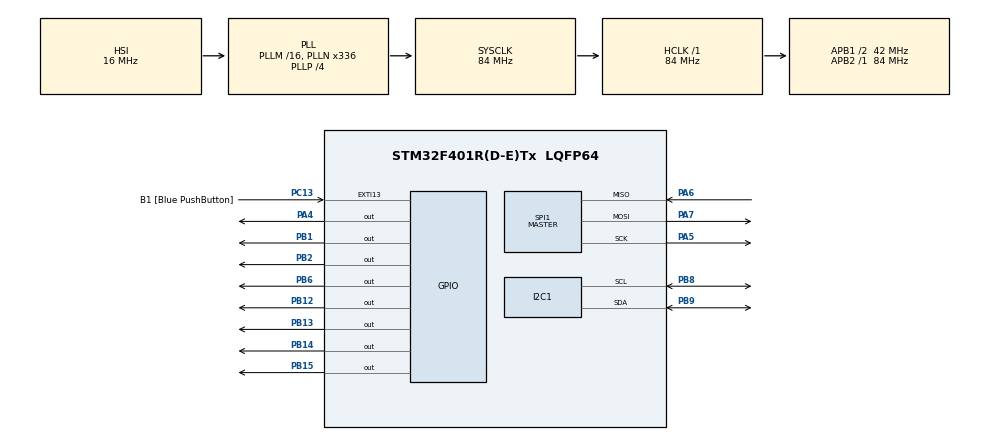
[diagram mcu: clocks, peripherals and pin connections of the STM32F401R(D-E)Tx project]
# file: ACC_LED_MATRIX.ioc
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Dma.I2C1_RX.0.Direction=DMA_PERIPH_TO_MEMORY
Dma.I2C1_RX.0.FIFOMode=DMA_FIFOMODE_DISABLE
Dma.I2C1_RX.0.Instance=DMA1_Stream0
Dma.I2C1_RX.0.MemDataAlignment=DMA_MDATAALIGN_BYTE
Dma.I2C1_RX.0.MemInc=DMA_MINC_ENABLE
Dma.I2C1_RX.0.Mode=DMA_NORMAL
Dma.I2C1_RX.0.PeriphDataAlignment=DMA_PDATAALIGN_BYTE
Dma.I2C1_RX.0.PeriphInc=DMA_PINC_DISABLE
Dma.I2C1_RX.0.Priority=DMA_PRIORITY_HIGH
Dma.Request0=I2C1_RX
Dma.Request1=SPI1_TX
Dma.SPI1_TX.1.Direction=DMA_MEMORY_TO_PERIPH
Dma.SPI1_TX.1.FIFOMode=DMA_FIFOMODE_DISABLE
Dma.SPI1_TX.1.Instance=DMA2_Stream3
Dma.SPI1_TX.1.MemDataAlignment=DMA_MDATAALIGN_BYTE
Dma.SPI1_TX.1.MemInc=DMA_MINC_ENABLE
Dma.SPI1_TX.1.Mode=DMA_NORMAL
Dma.SPI1_TX.1.PeriphDataAlignment=DMA_PDATAALIGN_BYTE
Dma.SPI1_TX.1.PeriphInc=DMA_PINC_DISABLE
Dma.SPI1_TX.1.Priority=DMA_PRIORITY_LOW
Mcu.Family=STM32F4
Mcu.Name=STM32F401R(D-E)Tx
Mcu.Package=LQFP64
NVIC.DMA1_Stream0_IRQn=true\:0\:0\:false\:false\:true\:false\:true\:true
NVIC.DMA2_Stream3_IRQn=true\:0\:0\:false\:false\:true\:false\:true\:true
NVIC.I2C1_ER_IRQn=true\:0\:0\:false\:false\:true\:true\:true\:true
NVIC.I2C1_EV_IRQn=true\:0\:0\:false\:false\:true\:true\:true\:true
NVIC.PriorityGroup=NVIC_PRIORITYGROUP_4
NVIC.SPI1_IRQn=true\:1\:0\:true\:false\:true\:true\:true\:true
NVIC.TIM2_IRQn=true\:0\:0\:false\:false\:true\:true\:true\:true
NVIC.TIM3_IRQn=true\:2\:0\:true\:false\:true\:true\:true\:true
PA13.GPIO_Label=TMS
PA13.Mode=Trace_Asynchronous_SW
PA13.Signal=SYS_JTMS-SWDIO
PA14.GPIO_Label=TCK
PA14.Mode=Trace_Asynchronous_SW
PA14.Signal=SYS_JTCK-SWCLK
PA4.Signal=GPIO_Output
PA5.Mode=Full_Duplex_Master
PA5.Signal=SPI1_SCK
PA6.Mode=Full_Duplex_Master
PA6.Signal=SPI1_MISO
PA7.Mode=Full_Duplex_Master
PA7.Signal=SPI1_MOSI
PB1.Signal=GPIO_Output
PB12.Signal=GPIO_Output
PB13.Signal=GPIO_Output
PB14.Signal=GPIO_Output
PB15.Signal=GPIO_Output
PB2.Signal=GPIO_Output
PB3.GPIO_Label=SWO
PB3.Mode=Trace_Asynchronous_SW
PB3.Signal=SYS_JTDO-SWO
PB6.Signal=GPIO_Output
PB8.Mode=I2C
PB8.Signal=I2C1_SCL
PB9.Mode=I2C
PB9.Signal=I2C1_SDA
PC13-ANTI_TAMP.GPIO_Label=B1 [Blue PushButton]
PC13-ANTI_TAMP.GPIO_ModeDefaultEXTI=GPIO_MODE_IT_FALLING
PC13-ANTI_TAMP.GPIO_PuPd=GPIO_NOPULL
PC13-ANTI_TAMP.Signal=GPXTI13
PC14-OSC32_IN.Mode=LSE-External-Oscillator
PC14-OSC32_IN.Signal=RCC_OSC32_IN
PC15-OSC32_OUT.Mode=LSE-External-Oscillator
PC15-OSC32_OUT.Signal=RCC_OSC32_OUT
PH0\ -\ OSC_IN.Mode=HSE-External-Clock-Source
PH0\ -\ OSC_IN.Signal=RCC_OSC_IN
PH1\ -\ OSC_OUT.Mode=HSE-External-Clock-Source
PH1\ -\ OSC_OUT.Signal=RCC_OSC_OUT
ProjectManager.HeapSize=0x200
ProjectManager.StackSize=0x400
ProjectManager.TargetToolchain=STM32CubeIDE
RCC.48MHZClocksFreq_Value=48000000
RCC.AHBFreq_Value=84000000
RCC.APB1CLKDivider=RCC_HCLK_DIV2
RCC.APB1Freq_Value=42000000
RCC.APB1TimFreq_Value=84000000
RCC.APB2Freq_Value=84000000
RCC.APB2TimFreq_Value=84000000
RCC.CortexFreq_Value=84000000
RCC.HCLKFreq_Value=84000000
RCC.HSE_VALUE=8000000
RCC.HSI_VALUE=16000000
RCC.PLLN=336
RCC.PLLP=RCC_PLLP_DIV4
RCC.PLLQ=7
RCC.SYSCLKFreq_VALUE=84000000
RCC.SYSCLKSource=RCC_SYSCLKSOURCE_PLLCLK
RCC.VCOOutputFreq_Value=336000000
SPI1.BaudRatePrescaler=SPI_BAUDRATEPRESCALER_4
SPI1.Direction=SPI_DIRECTION_2LINES
SPI1.Mode=SPI_MODE_MASTER
SPI1.VirtualType=VM_MASTER
TIM2.Period=839999
TIM2.Prescaler=99
TIM3.Period=3359
TIM3.Prescaler=99
VP_TIM2_VS_ClockSourceINT.Mode=Internal
VP_TIM3_VS_ClockSourceINT.Mode=Internal
board=NUCLEO-F401RE

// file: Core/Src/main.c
/* USER CODE BEGIN Header */
/**
  ******************************************************************************
  * @file           : main.c
  * @brief          : Main program body
  ******************************************************************************
  * @attention
  *
  * Copyright (c) 2026 STMicroelectronics.
  * All rights reserved.
  *
  * This software is licensed under terms that can be found in the LICENSE file
  * in the root directory of this software component.
  * If no LICENSE file comes with this software, it is provided AS-IS.
  *
  ******************************************************************************
  */
/* USER CODE END Header */
#include "main.h"

/* USER CODE BEGIN Includes */
#include "stdio.h"
#include "string.h"
#include "PMDB16_LCD.h"

/* USER CODE END Includes */

/* USER CODE BEGIN PD */
#define LIS2DE_ADDR (0b0101000 << 1)
#define CTRL_REG1_ADDR (0x20)
#define CTRL_REG4_ADDR (0x23)
#define OUT_X_ADDR (0x29)
#define OUT_Y_ADDR (0x2B)
#define OUT_Z_ADDR (0x2D)

// 0x29 -> 0x2A -> 0x2B -> 0x2C -> 0x2D
// Sono 5 registri, uno dopo l'altro, di cui ci enteressano solo 3

#define NUM_COLS 5
#define NUM_LETTERS 2

#define PORT GPIOB
#define PIN GPIO_PIN_6

/* USER CODE END PD */

I2C_HandleTypeDef hi2c1;
DMA_HandleTypeDef hdma_i2c1_rx;

SPI_HandleTypeDef hspi1;
DMA_HandleTypeDef hdma_spi1_tx;

TIM_HandleTypeDef htim2;
TIM_HandleTypeDef htim3;

/* USER CODE BEGIN PV */
uint8_t ctrl1_config=0x17; // 0001 0111
// ODR[3:0] = 0001 -> 1 Hz
// lPen = 0 -> Normal Mode (non low-power)
// Zen, Yen, Xen = 1 -> tutti gli assi abilitati
uint8_t ctrl4_config = 0x00; // default 0000 0000
// FSR = +/-2g e Normal Mode (non Self Test)

uint8_t raw[5]; // 5 byte
// 0x29 -> 0x2A -> 0x2B -> 0x2C -> 0x2D
// OUT_X-> 0x2A -> OUT_Y-> 0x2C -> OUT_Z
// Poi utilizzeremo solo raw[0], raw[2] e raw[4]

float acc[3];

// Definizione Lettere
static const uint8_t LETTER_COL[NUM_LETTERS][NUM_COLS] = {{ 16,  8,  4,  2,  1 },{ 16,  8,  4,  2,  1 }};
static const uint8_t LETTER_ROW[NUM_LETTERS][NUM_COLS] = {{ 8, 8 , 8 , 8 , 8 },{8 ,8 ,62 ,8 ,8 }}; // "-", "+"

// Contatori
static int col_cnt = 0; // Colonna a cui siamo arrivati = 0:NUM_COLS-1
static int letter_idx=0; //  Lettera (0="O", 1="K") = 0:NUM_LETTERS-1

uint8_t old_sign=0; // assumiamo sia -

// LCD
char lcd_buffer_accz[16];
uint8_t changed=0;

float acc_z_old=0.0f;

/* USER CODE END PV */

void SystemClock_Config(void);
static void MX_GPIO_Init(void);
static void MX_DMA_Init(void);
static void MX_I2C1_Init(void);
static void MX_TIM2_Init(void);
static void MX_SPI1_Init(void);
static void MX_TIM3_Init(void);
/* USER CODE BEGIN PFP */
static inline void spi_send(uint8_t col, uint8_t row);
/* USER CODE END PFP */

/* USER CODE BEGIN 0 */
void AccelerometerInitialization(void){ // Configurazione Registri
	// CTRL1
	// ODR[3:0] = 0001
	// LPEN = 0
	// XEN, YEN, ZEN=1
	HAL_I2C_Mem_Write(&hi2c1, LIS2DE_ADDR, CTRL_REG1_ADDR, I2C_MEMADD_SIZE_8BIT, &ctrl1_config, 1, HAL_MAX_DELAY);
	// CTRL4
	// FSR = +/-2g
	HAL_I2C_Mem_Write(&hi2c1, LIS2DE_ADDR, CTRL_REG4_ADDR, I2C_MEMADD_SIZE_8BIT, &ctrl4_config, 1, HAL_MAX_DELAY);
	return;
}

void HAL_TIM_PeriodElapsedCallback(TIM_HandleTypeDef *htim)
{
    if (htim->Instance == TIM2) // 1s
    {
    	// Read the accelerometer
    	HAL_I2C_Mem_Read_DMA(&hi2c1, LIS2DE_ADDR, OUT_X_ADDR | 0x80, I2C_MEMADD_SIZE_8BIT, raw, 5);
    	// 0x80 = 0b 1000 0000
    	// Mettiamo il MSB = 1 per fare l'autoincrement dal registro OUT_X in poi, di 5 address
    }

	// CALLBACK CAMBIO COLONNA (4ms)
    if (htim->Instance == TIM3){
        // refresh colonna
        spi_send(LETTER_COL[letter_idx][col_cnt], LETTER_ROW[letter_idx][col_cnt]);
        col_cnt++;
        if (col_cnt == NUM_COLS){
            col_cnt = 0;
        }
    }

}

void HAL_I2C_MemRxCpltCallback(I2C_HandleTypeDef *hi2c)
{
    if (hi2c->Instance == I2C1)
    {
        acc[0] = ((int8_t)raw[0] * 15.6) / 1000.0;  // OUT_X
        acc[1] = ((int8_t)raw[2] * 15.6) / 1000.0;  // OUT_Y
        acc[2] = ((int8_t)raw[4] * 15.6) / 1000.0;  // OUT_Z

        if(acc[2]-acc_z_old>0.01f || acc_z_old-acc[2]>0.01f){
        	changed=1;
        }

        acc_z_old=acc[2];

        if(acc[2]>0.0f && old_sign==0){
        	letter_idx=1; //+
        	old_sign=1;

        }else if(acc[2]<0.0f && old_sign==1){
        	letter_idx=0; //-
        	old_sign=0;

        }
    }
}

static inline void spi_send(uint8_t col, uint8_t row){
	static uint8_t buffer[2]; // 2 byte
	// DAISY RING
	buffer[0]=row; // prima la riga
	buffer[1]=col; // poi la colonna

	// Ogni 4 ms trasmettiamo (refreshamo)
	HAL_SPI_Transmit_DMA(&hspi1, buffer, 2);
}

void HAL_SPI_TxCpltCallback(SPI_HandleTypeDef *hspi){
	if(hspi->Instance==SPI1){
		// Una volta terminata la comunicazione dei 2 byte
		// diamo un impulso su RCLK per far scattare il latch
		// dei due shift register
		HAL_GPIO_WritePin(PORT, PIN, GPIO_PIN_SET);
		HAL_GPIO_WritePin(PORT, PIN, GPIO_PIN_RESET);
	}
}

/* USER CODE END 0 */

int main(void)
{

  /* MCU Configuration--------------------------------------------------------*/

  /* Reset of all peripherals, Initializes the Flash interface and the Systick. */
  HAL_Init();

  /* Configure the system clock */
  SystemClock_Config();

  /* Initialize all configured peripherals */
  MX_GPIO_Init();
  MX_DMA_Init();
  MX_I2C1_Init();
  MX_TIM2_Init();
  MX_SPI1_Init();
  MX_TIM3_Init();
  /* USER CODE BEGIN 2 */
  AccelerometerInitialization();
  HAL_TIM_Base_Start_IT(&htim2);
  HAL_TIM_Base_Start_IT(&htim3);

  lcd_initialize();           // LCD
  lcd_backlight_ON();

  /* USER CODE END 2 */

  /* Infinite loop */
  while (1)
  {

    /* USER CODE BEGIN 3 */
	  if(changed){
		  changed=0;
		  lcd_clear();
		  sprintf(lcd_buffer_accz, "Z: %+.2f g", acc[2]);
		  lcd_println(lcd_buffer_accz, 0);
		  if(old_sign==0){
			  lcd_println("Negativa", 1);
		  }else{
			  lcd_println("Positiva",1);
		  }
	  }

  }
  /* USER CODE END 3 */
}

void SystemClock_Config(void)
{
  RCC_OscInitTypeDef RCC_OscInitStruct = {0};
  RCC_ClkInitTypeDef RCC_ClkInitStruct = {0};

  /** Configure the main internal regulator output voltage
  */
  __HAL_RCC_PWR_CLK_ENABLE();
  __HAL_PWR_VOLTAGESCALING_CONFIG(PWR_REGULATOR_VOLTAGE_SCALE2);

  /** Initializes the RCC Oscillators according to the specified parameters
  * in the RCC_OscInitTypeDef structure.
  */
  RCC_OscInitStruct.OscillatorType = RCC_OSCILLATORTYPE_HSI;
  RCC_OscInitStruct.HSIState = RCC_HSI_ON;
  RCC_OscInitStruct.HSICalibrationValue = RCC_HSICALIBRATION_DEFAULT;
  RCC_OscInitStruct.PLL.PLLState = RCC_PLL_ON;
  RCC_OscInitStruct.PLL.PLLSource = RCC_PLLSOURCE_HSI;
  RCC_OscInitStruct.PLL.PLLM = 16;
  RCC_OscInitStruct.PLL.PLLN = 336;
  RCC_OscInitStruct.PLL.PLLP = RCC_PLLP_DIV4;
  RCC_OscInitStruct.PLL.PLLQ = 7;
  if (HAL_RCC_OscConfig(&RCC_OscInitStruct) != HAL_OK)
  {
    Error_Handler();
  }

  /** Initializes the CPU, AHB and APB buses clocks
  */
  RCC_ClkInitStruct.ClockType = RCC_CLOCKTYPE_HCLK|RCC_CLOCKTYPE_SYSCLK
                              |RCC_CLOCKTYPE_PCLK1|RCC_CLOCKTYPE_PCLK2;
  RCC_ClkInitStruct.SYSCLKSource = RCC_SYSCLKSOURCE_PLLCLK;
  RCC_ClkInitStruct.AHBCLKDivider = RCC_SYSCLK_DIV1;
  RCC_ClkInitStruct.APB1CLKDivider = RCC_HCLK_DIV2;
  RCC_ClkInitStruct.APB2CLKDivider = RCC_HCLK_DIV1;

  if (HAL_RCC_ClockConfig(&RCC_ClkInitStruct, FLASH_LATENCY_2) != HAL_OK)
  {
    Error_Handler();
  }
}

static void MX_I2C1_Init(void)
{

  hi2c1.Instance = I2C1;
  hi2c1.Init.ClockSpeed = 100000;
  hi2c1.Init.DutyCycle = I2C_DUTYCYCLE_2;
  hi2c1.Init.OwnAddress1 = 0;
  hi2c1.Init.AddressingMode = I2C_ADDRESSINGMODE_7BIT;
  hi2c1.Init.DualAddressMode = I2C_DUALADDRESS_DISABLE;
  hi2c1.Init.OwnAddress2 = 0;
  hi2c1.Init.GeneralCallMode = I2C_GENERALCALL_DISABLE;
  hi2c1.Init.NoStretchMode = I2C_NOSTRETCH_DISABLE;
  if (HAL_I2C_Init(&hi2c1) != HAL_OK)
  {
    Error_Handler();
  }

}

static void MX_SPI1_Init(void)
{

  /* SPI1 parameter configuration*/
  hspi1.Instance = SPI1;
  hspi1.Init.Mode = SPI_MODE_MASTER;
  hspi1.Init.Direction = SPI_DIRECTION_2LINES;
  hspi1.Init.DataSize = SPI_DATASIZE_8BIT;
  hspi1.Init.CLKPolarity = SPI_POLARITY_LOW;
  hspi1.Init.CLKPhase = SPI_PHASE_1EDGE;
  hspi1.Init.NSS = SPI_NSS_SOFT;
  hspi1.Init.BaudRatePrescaler = SPI_BAUDRATEPRESCALER_4;
  hspi1.Init.FirstBit = SPI_FIRSTBIT_MSB;
  hspi1.Init.TIMode = SPI_TIMODE_DISABLE;
  hspi1.Init.CRCCalculation = SPI_CRCCALCULATION_DISABLE;
  hspi1.Init.CRCPolynomial = 10;
  if (HAL_SPI_Init(&hspi1) != HAL_OK)
  {
    Error_Handler();
  }

}

static void MX_TIM2_Init(void)
{

  TIM_ClockConfigTypeDef sClockSourceConfig = {0};
  TIM_MasterConfigTypeDef sMasterConfig = {0};

  htim2.Instance = TIM2;
  htim2.Init.Prescaler = 99;
  htim2.Init.CounterMode = TIM_COUNTERMODE_UP;
  htim2.Init.Period = 839999;
  htim2.Init.ClockDivision = TIM_CLOCKDIVISION_DIV1;
  htim2.Init.AutoReloadPreload = TIM_AUTORELOAD_PRELOAD_DISABLE;
  if (HAL_TIM_Base_Init(&htim2) != HAL_OK)
  {
    Error_Handler();
  }
  sClockSourceConfig.ClockSource = TIM_CLOCKSOURCE_INTERNAL;
  if (HAL_TIM_ConfigClockSource(&htim2, &sClockSourceConfig) != HAL_OK)
  {
    Error_Handler();
  }
  sMasterConfig.MasterOutputTrigger = TIM_TRGO_RESET;
  sMasterConfig.MasterSlaveMode = TIM_MASTERSLAVEMODE_DISABLE;
  if (HAL_TIMEx_MasterConfigSynchronization(&htim2, &sMasterConfig) != HAL_OK)
  {
    Error_Handler();
  }

}

static void MX_TIM3_Init(void)
{

  TIM_ClockConfigTypeDef sClockSourceConfig = {0};
  TIM_MasterConfigTypeDef sMasterConfig = {0};

  htim3.Instance = TIM3;
  htim3.Init.Prescaler = 99;
  htim3.Init.CounterMode = TIM_COUNTERMODE_UP;
  htim3.Init.Period = 3359;
  htim3.Init.ClockDivision = TIM_CLOCKDIVISION_DIV1;
  htim3.Init.AutoReloadPreload = TIM_AUTORELOAD_PRELOAD_DISABLE;
  if (HAL_TIM_Base_Init(&htim3) != HAL_OK)
  {
    Error_Handler();
  }
  sClockSourceConfig.ClockSource = TIM_CLOCKSOURCE_INTERNAL;
  if (HAL_TIM_ConfigClockSource(&htim3, &sClockSourceConfig) != HAL_OK)
  {
    Error_Handler();
  }
  sMasterConfig.MasterOutputTrigger = TIM_TRGO_RESET;
  sMasterConfig.MasterSlaveMode = TIM_MASTERSLAVEMODE_DISABLE;
  if (HAL_TIMEx_MasterConfigSynchronization(&htim3, &sMasterConfig) != HAL_OK)
  {
    Error_Handler();
  }

}

static void MX_DMA_Init(void)
{

  /* DMA controller clock enable */
  __HAL_RCC_DMA1_CLK_ENABLE();
  __HAL_RCC_DMA2_CLK_ENABLE();

  /* DMA interrupt init */
  /* DMA1_Stream0_IRQn interrupt configuration */
  HAL_NVIC_SetPriority(DMA1_Stream0_IRQn, 0, 0);
  HAL_NVIC_EnableIRQ(DMA1_Stream0_IRQn);
  /* DMA2_Stream3_IRQn interrupt configuration */
  HAL_NVIC_SetPriority(DMA2_Stream3_IRQn, 0, 0);
  HAL_NVIC_EnableIRQ(DMA2_Stream3_IRQn);

}

static void MX_GPIO_Init(void)
{
  GPIO_InitTypeDef GPIO_InitStruct = {0};

  /* GPIO Ports Clock Enable */
  __HAL_RCC_GPIOC_CLK_ENABLE();
  __HAL_RCC_GPIOH_CLK_ENABLE();
  __HAL_RCC_GPIOA_CLK_ENABLE();
  __HAL_RCC_GPIOB_CLK_ENABLE();

  /*Configure GPIO pin Output Level */
  HAL_GPIO_WritePin(GPIOA, GPIO_PIN_4, GPIO_PIN_RESET);

  /*Configure GPIO pin Output Level */
  HAL_GPIO_WritePin(GPIOB, GPIO_PIN_1|GPIO_PIN_2|GPIO_PIN_12|GPIO_PIN_13
                          |GPIO_PIN_14|GPIO_PIN_15|GPIO_PIN_6, GPIO_PIN_RESET);

  /*Configure GPIO pin : B1_Pin */
  GPIO_InitStruct.Pin = B1_Pin;
  GPIO_InitStruct.Mode = GPIO_MODE_IT_FALLING;
  GPIO_InitStruct.Pull = GPIO_NOPULL;
  HAL_GPIO_Init(B1_GPIO_Port, &GPIO_InitStruct);

  /*Configure GPIO pin : PA4 */
  GPIO_InitStruct.Pin = GPIO_PIN_4;
  GPIO_InitStruct.Mode = GPIO_MODE_OUTPUT_PP;
  GPIO_InitStruct.Pull = GPIO_NOPULL;
  GPIO_InitStruct.Speed = GPIO_SPEED_FREQ_LOW;
  HAL_GPIO_Init(GPIOA, &GPIO_InitStruct);

  /*Configure GPIO pins : PB1 PB2 PB12 PB13
                           PB14 PB15 PB6 */
  GPIO_InitStruct.Pin = GPIO_PIN_1|GPIO_PIN_2|GPIO_PIN_12|GPIO_PIN_13
                          |GPIO_PIN_14|GPIO_PIN_15|GPIO_PIN_6;
  GPIO_InitStruct.Mode = GPIO_MODE_OUTPUT_PP;
  GPIO_InitStruct.Pull = GPIO_NOPULL;
  GPIO_InitStruct.Speed = GPIO_SPEED_FREQ_LOW;
  HAL_GPIO_Init(GPIOB, &GPIO_InitStruct);

}

void Error_Handler(void)
{
  __disable_irq();
  while (1)
  {
  }
}
